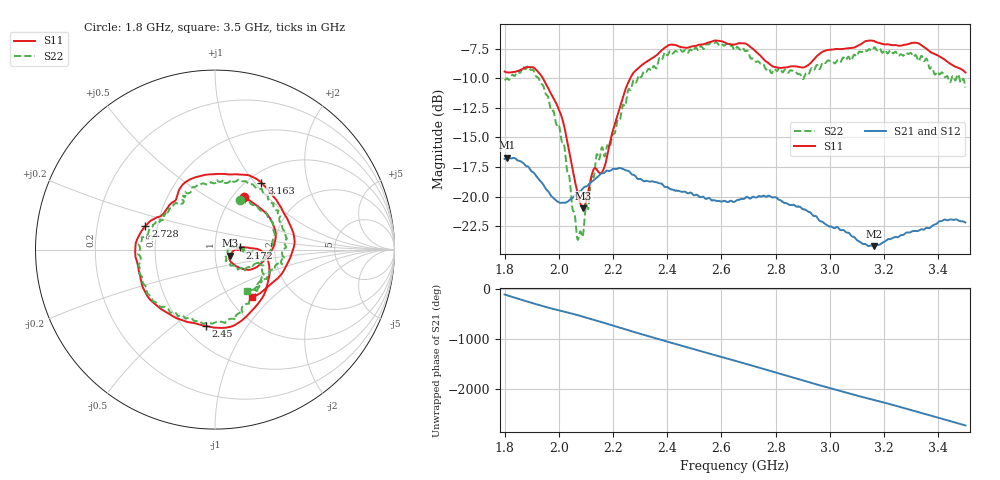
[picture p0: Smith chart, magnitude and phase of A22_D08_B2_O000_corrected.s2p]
! Created with skrf 1.9.0 (http://scikit-rf.org).
# Hz S RI R 50.0
!freq ReS11 ImS11 ReS21 ImS21 ReS12 ImS12 ReS22 ImS22
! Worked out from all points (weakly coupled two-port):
!   1601 points, 1.8 GHz to 3.5 GHz, reference 50 ohm
!   highest |S21| = -16.72 dB at 1.811 GHz (marker M1); lowest = -24.2 dB at 3.162 GHz (marker M2)
!   lowest |S11| = -21.0 dB at 2.09 GHz (marker M3), VSWR 1.20, Z = 58.9 - j3.92 ohm
!   |S11| at or under -10 dB: 1.941 GHz to 2.264 GHz (322.1 MHz wide, 15.3 % of centre)
!   |S22| runs from -23.7 to -6.9 dB; largest |S21 - S12| = 0.0028
!   S11 on the Smith chart (normalised r, x): 1.8 GHz: 1.13, +0.75; 2.172 GHz: 1.32, +0.03; 2.45 GHz: 0.63, -0.66; 2.728 GHz: 0.43, +0.13; 3.163 GHz: 1.15, +1.08; 3.5 GHz: 1.28, -0.75
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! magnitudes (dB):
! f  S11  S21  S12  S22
! 1.8 GHz  -9.4  -16.8  -16.8  -10.2
! 1.811 GHz  -9.5  -16.7  -16.7  -10.0
! 1.888 GHz  -9.0  -17.5  -17.6  -9.0
! 1.941 GHz  -10.0  -18.9  -18.9  -10.6
! 2.011 GHz  -13.3  -20.5  -20.5  -15.4
! 2.066 GHz  -19.3  -19.8  -19.8  -23.1
! 2.084 GHz  -20.8  -19.5  -19.4  -23.2
! 2.09 GHz  -21.0  -19.3  -19.3  -23.1
! 2.139 GHz  -17.7  -18.4  -18.4  -16.5
! 2.172 GHz  -17.2  -17.9  -18.0  -16.5
! 2.26 GHz  -10.2  -17.9  -17.9  -10.9
! 2.367 GHz  -7.9  -18.9  -18.8  -8.5
! 2.45 GHz  -7.4  -19.6  -19.6  -7.6
! 2.65 GHz  -7.1  -20.4  -20.4  -7.6
! 2.728 GHz  -7.8  -20.1  -20.1  -8.6
! 2.807 GHz  -9.1  -20.2  -20.2  -9.3
! 2.934 GHz  -8.6  -21.5  -21.5  -9.1
! 3.162 GHz  -6.8  -24.2  -24.2  -7.4
! 3.163 GHz  -6.9  -24.2  -24.2  -7.4
! 3.217 GHz  -7.1  -23.6  -23.6  -7.8
! 3.326 GHz  -7.0  -22.9  -22.9  -8.5
! 3.5 GHz  -9.5  -22.2  -22.2  -10.8
